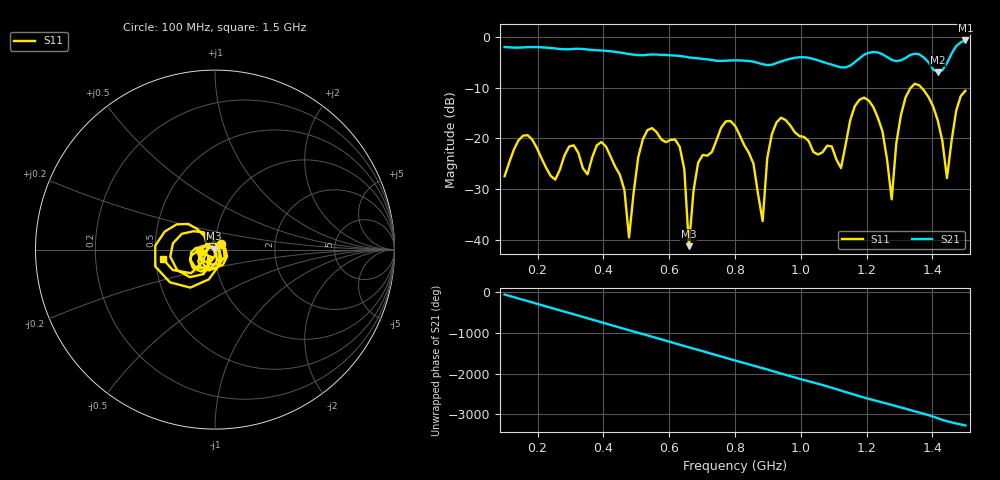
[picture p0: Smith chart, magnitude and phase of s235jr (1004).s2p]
! NanoVNA-App
! Date: 2025-09-25 15:11:59
! Start: 100MHz Stop: 1,5GHz Points: 101
! S-Parameter data: F S11 S21 S12 S22
# Hz S RI R 50
!  Frequency  S11_Real  S11_Imag  S21_Real  S21_Imag  S12_Real  S12_Imag  S22_Real  S22_Imag
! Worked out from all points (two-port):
!   101 points, 100 MHz to 1.5 GHz, reference 50 ohm
!   highest |S21| = -0.68 dB at 1.5 GHz (marker M1); lowest = -7.0 dB at 1.416 GHz (marker M2)
!   |S21| within 3 dB of the highest: start of sweep to 620.5 MHz; 1.188 GHz to 1.255 GHz (66.77 MHz wide, 5.46 % of centre) (the widest 2 of 4)
!   lowest |S11| = -41.3 dB at 660 MHz (marker M3), VSWR 1.02, Z = 49.3 + j0.545 ohm
!   |S11| at or under -10 dB: start of sweep to 1.335 GHz; 1.366 GHz to end of sweep
!   S12 and S22 are empty: the file has one direction only
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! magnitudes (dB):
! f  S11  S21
! 100 MHz  -27.5  -2.0
! 170 MHz  -19.4  -2.0
! 338 MHz  -25.9  -2.4
! 408 MHz  -21.6  -2.7
! 478 MHz  -39.6  -3.4
! 520 MHz  -20.2  -3.6
! 576 MHz  -20.2  -3.5
! 632 MHz  -21.7  -3.7
! 660 MHz  -41.3  -4.0
! 688 MHz  -24.8  -4.2
! 800 MHz  -17.5  -4.6
! 884 MHz  -36.3  -5.4
! 898 MHz  -23.9  -5.5
! 926 MHz  -16.9  -5.1
! 1.038 GHz  -22.7  -4.3
! 1.122 GHz  -25.9  -6.0
! 1.206 GHz  -12.5  -3.1
! 1.276 GHz  -32.0  -4.5
! 1.332 GHz  -10.2  -3.5
! 1.416 GHz  -16.4  -7.0
! 1.444 GHz  -27.8  -5.1
! 1.5 GHz  -10.6  -0.7
